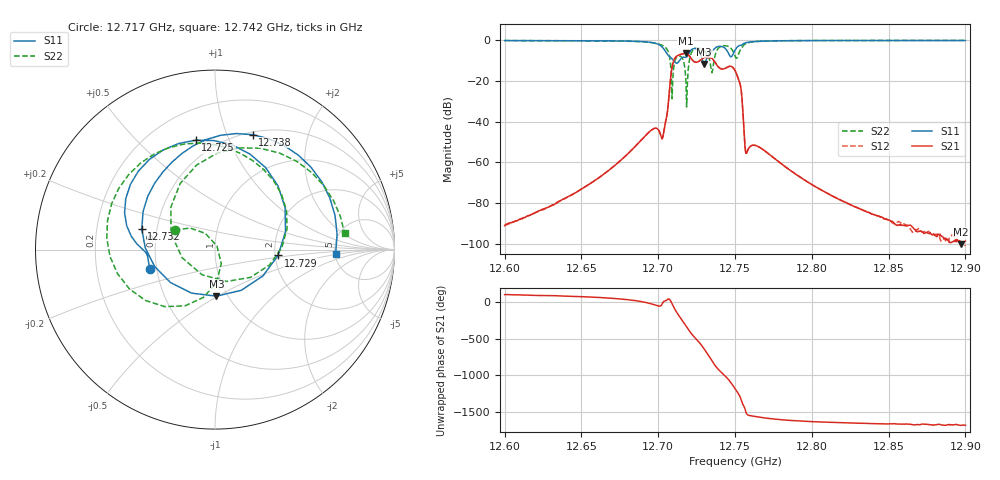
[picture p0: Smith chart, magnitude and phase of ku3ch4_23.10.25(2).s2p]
#  HZ  S  RI  R  50.00
! Rohde & Schwarz ZVA50 2Ports - Version 3.70 - 1145.1110k50 SN: 100192
! Date: 2025-10-23 16:11:44
! Measurements: S11 S21 S12 S22
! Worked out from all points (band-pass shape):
!   601 points, 12.6 GHz to 12.9 GHz, reference 50 ohm
!   highest |S21| = -6.44 dB at 12.718 GHz (marker M1); lowest = -100.3 dB at 12.897 GHz (marker M2)
!   |S21| within 3 dB of the highest: 12.7105 GHz to 12.72189 GHz (11.39 MHz wide, 0.0896 % of centre); 12.72816 GHz to 12.73558 GHz (7.422 MHz wide, 0.0583 % of centre)
!   lowest |S11| = -11.7 dB at 12.73 GHz (marker M3), VSWR 1.70, Z = 44.3 - j24.7 ohm
!   |S11| at or under -10 dB: 12.70993 GHz to 12.7139 GHz (3.966 MHz wide, 0.0312 % of centre); 12.72887 GHz to 12.7311 GHz (2.225 MHz wide, 0.0175 % of centre)
!   |S22| runs from -32.8 to -0.2 dB; largest |S21 - S12| = 0.00021
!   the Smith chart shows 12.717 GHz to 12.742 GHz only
!   S11 on the Smith chart (normalised r, x): 12.717 GHz: 0.46, -0.11; 12.725 GHz: 0.39, +0.76; 12.729 GHz: 2.08, -0.16; 12.732 GHz: 0.41, +0.12; 12.738 GHz: 0.53, +1.24; 12.742 GHz: 5.05, -0.49
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1.26e10  -0.9519 -0.1973  -4.63e-06 2.73e-05  -5.1e-06 2.87e-05  -0.9484 -0.2246
1.265e10  -0.9381 0.2249  6.59e-05 0.000209  6.64e-05 0.000211  -0.9367 0.2321
1.2682e10  -0.5553 0.7597  0.00168 0.00085  0.00168 0.000854  -0.4567 0.8149
1.27e10  0.629 0.4752  0.00372 -0.00518  0.00374 -0.00517  0.7405 0.3211
1.27055e10  0.0325 -0.4737  0.012 0.00526  0.012 0.0053  0.2701 -0.5491
1.271e10  0.0615 0.3079  0.1241 -0.2768  0.1242 -0.2768  0.1811 -0.0913
1.2717e10  -0.3638 -0.1059  0.1652 0.4425  0.1651 0.4426  -0.2247 0.1088
1.2718e10  -0.3753 -0.0369  0.3748 0.2942  0.3747 0.2944  -0.0541 0.0907
1.27245e10  -0.1068 0.6097  -0.2228 -0.1783  -0.2227 -0.1784  -0.5756 0.2557
1.27285e10  0.3513 -0.0328  -0.174 0.2983  -0.1741 0.2982  -0.00694 0.5857
1.273e10  0.00772 -0.2594  0.0907 0.3593  0.0905 0.3594  0.2092 0.4964
1.27325e10  -0.408 0.115  0.3748 -0.00655  0.3749 -0.00648  0.4017 0.1168
1.2738e10  0.2102 0.6403  -0.2479 -0.0262  -0.248 -0.0263  0.0112 0.5369
1.27425e10  0.6715 -0.0264  -0.00309 0.1957  -0.0032 0.1957  0.7215 0.0937
1.2746e10  -0.0366 -0.4527  0.2183 0.0521  0.2183 0.0522  0.5002 -0.4719
1.275e10  -0.1003 0.5549  -0.0401 -0.1751  -0.0401 -0.1751  -0.3329 -0.234
1.27535e10  0.5928 0.4492  -0.0536 0.0568  -0.0537 0.0567  0.3257 0.4688
1.2758e10  0.878 -0.0163  -0.000288 -0.00185  -0.000286 -0.00185  0.841 -0.1017
1.28e10  -0.2685 -0.9347  -0.000275 7.31e-05  -0.000277 7.32e-05  -0.2877 -0.9311
1.285e10  -0.7133 -0.6668  -2.65e-05 2.74e-05  -2.86e-05 2.53e-05  -0.6943 -0.6904
1.2897e10  -0.864 -0.4539  -3.79e-06 8.88e-06  -6.54e-06 8.73e-06  -0.8448 -0.4962
1.29e10  -0.8702 -0.4419  -4.98e-06 1.06e-05  -4.23e-06 7.67e-06  -0.8513 -0.485
